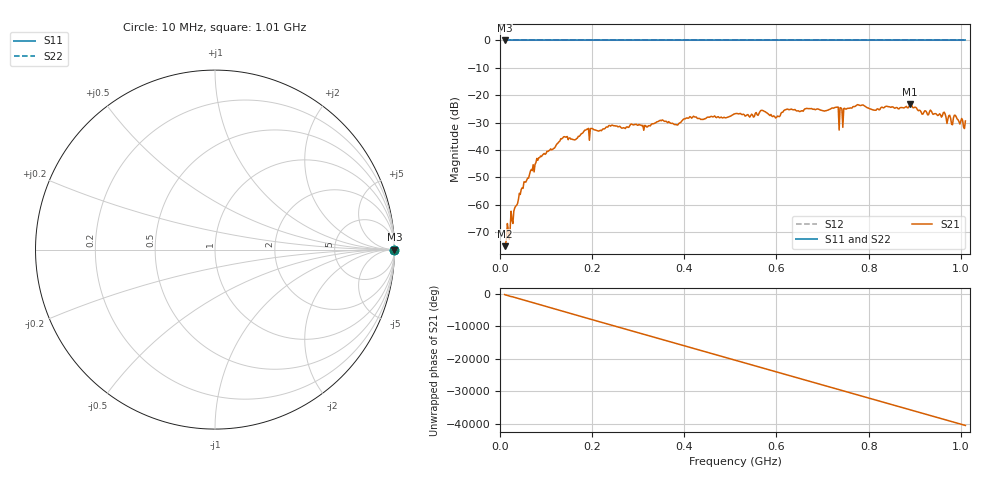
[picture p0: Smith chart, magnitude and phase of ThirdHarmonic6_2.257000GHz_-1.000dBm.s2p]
! 8/17/2025 2:45:35 AM
! C:\ANRITSUVNA\TEMP\TEMP.S2P
! CHANNEL.1
! TR.MEASUREMENT
! RAW.DATA
! RF.CORRECTION.OFF
! AVERAGING.OFF
! IF.BANDWIDTH: 5KHZ
! SWEEPTYPE:  FREQ.SWEEP(Linear)
! Reference Plane Port Info
! PORT:  PORT1  PORT2
! DISTANCE:  0  m  0  m
! TIME:  0  s  0  s
! PHASE.OFFSET:  0  deg.  0  deg.
! LOSS:  0  dB  0  dB
! REF.LOSS:  0  dB  0  dB
! REF.FREQ:  0  Hz  0  Hz
! Power Info
! POWER:  -20  dBm  -20  dBm
! EFF.POWER:  -20  dBm  -20  dBm
! SOURCE.ATTEN:  0  dB  0  dB
! TEST.ATTEN:  0  dB  0  dB
# GHZ S RI R 50.0
! FREQ.GHZ  S11RE  S11IM  S21RE  S21IM  S12RE  S12IM  S22RE  S22IM
!; PortSelection: Port_12
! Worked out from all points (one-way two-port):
!   501 points, 10 MHz to 1.01 GHz, reference 50 ohm
!   highest |S21| = -23.36 dB at 890 MHz (marker M1); lowest = -75.2 dB at 10 MHz (marker M2)
!   lowest |S11| = 0.0 dB at 10 MHz (marker M3)
!   |S11| at or under -10 dB: nowhere
!   |S22| runs from 0.0 to 0.0 dB; largest |S21 - S12| = 1.1
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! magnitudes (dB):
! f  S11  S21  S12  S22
! 10 MHz  0.0  -75.2  0.0  0.0
! 44 MHz  0.0  -56.3  0.0  0.0
! 82 MHz  0.0  -43.8  0.0  0.0
! 136 MHz  0.0  -35.7  0.0  0.0
! 162 MHz  0.0  -36.4  0.0  0.0
! 178 MHz  0.0  -34.0  0.0  0.0
! 344 MHz  0.0  -29.6  0.0  0.0
! 382 MHz  0.0  -30.7  0.0  0.0
! 416 MHz  0.0  -28.4  0.0  0.0
! 510 MHz  0.0  -26.8  0.0  0.0
! 570 MHz  0.0  -25.6  0.0  0.0
! 602 MHz  0.0  -27.7  0.0  0.0
! 620 MHz  0.0  -25.3  0.0  0.0
! 678 MHz  0.0  -25.1  0.0  0.0
! 730 MHz  0.0  -24.4  0.0  0.0
! 740 MHz  0.0  -24.7  0.0  0.0
! 750 MHz  0.0  -25.1  0.0  0.0
! 776 MHz  0.0  -23.5  0.0  0.0
! 812 MHz  0.0  -25.5  0.0  0.0
! 844 MHz  0.0  -24.2  0.0  0.0
! 890 MHz  0.0  -23.4  0.0  0.0
! 1.01 GHz  0.0  -29.4  0.0  0.0
